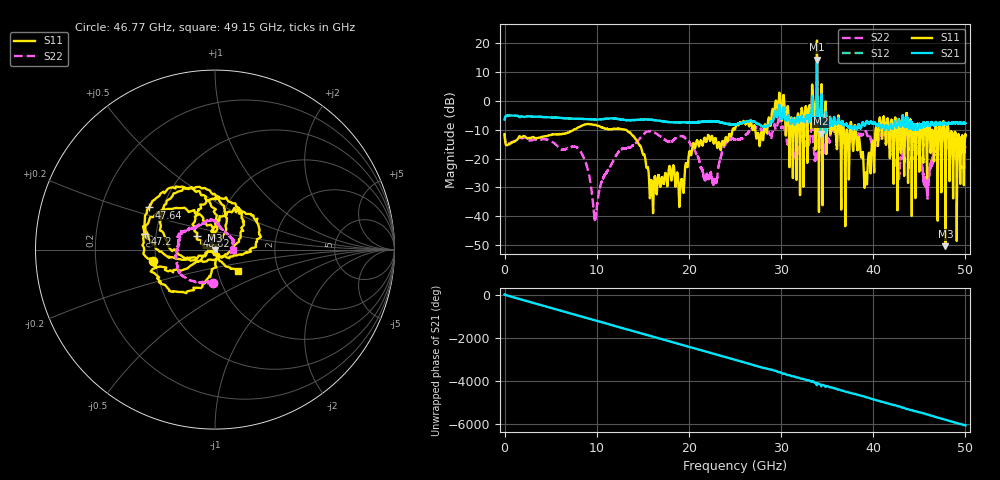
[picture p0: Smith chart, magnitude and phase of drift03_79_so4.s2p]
!Created with skrf (http://scikit-rf.org).
# Hz S RI R 50.0
!freq ReS11 ImS11 ReS21 ImS21 ReS12 ImS12 ReS22 ImS22
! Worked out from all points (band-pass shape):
!   10001 points, 300 kHz to 50 GHz, reference 50 ohm
!   highest |S21| = 14.32 dB at 33.9 GHz (marker M1); lowest = -11.3 dB at 34.32 GHz (marker M2)
!   |S21| within 3 dB of the highest: 33.89098 GHz to 33.90326 GHz (12.27 MHz wide, 0.0362 % of centre)
!   lowest |S11| = -50.4 dB at 47.84 GHz (marker M3), VSWR 1.01, Z = 49.7 - j0.129 ohm
!   |S11| at or under -10 dB: start of sweep to 7.488 GHz; 13.13 GHz to 24.74 GHz (11.62 GHz wide, 61.4 % of centre); 38.09 GHz to 40.25 GHz (2.155 GHz wide, 5.5 % of centre) (the widest 3 of 46)
!   |S22| runs from -41.4 to 6.8 dB; largest |S21 - S12| = 0.38
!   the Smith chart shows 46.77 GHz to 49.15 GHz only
!   S11 on the Smith chart (normalised r, x): 46.77 GHz: 0.48, -0.07; 47.2 GHz: 0.43, +0.09; 47.64 GHz: 0.42, +0.24; 48.62 GHz: 0.81, +0.12; 49.15 GHz: 1.25, -0.31
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300000  -0.2351 -0.1243  0.4659 0.0811  0.4647 0.0807  -0.2325 -0.1265
1.440291e9  0.2099 0.0648  -0.548 -0.0301  -0.5479 -0.0294  0.2115 -0.00385
2.915283e9  -0.212 -0.088  0.5344 0.0519  0.5345 0.0513  -0.2018 0.0403
4.415274e9  0.2055 0.1324  -0.5218 -0.0426  -0.5222 -0.0427  0.1988 -0.0871
8.33525e9  0.2887 -0.2329  0.1453 0.4664  0.1453 0.4666  -0.0725 -0.1018
9.840241e9  -0.365 0.1247  -0.1423 -0.4544  -0.1425 -0.4543  0.00875 0.00212
1.66702e10  0.0272 0.0431  -0.3792 0.2533  -0.3797 0.252  -0.1283 -0.2211
2.500015e10  -0.3262 -0.0166  -0.2544 -0.2986  -0.2525 -0.2999  -0.2125 0.028
2.895513e10  -0.327 0.4319  -0.2903 0.3248  -0.3 0.2877  0.0658 0.2208
3.006512e10  0.4007 0.2704  0.4523 -0.1942  0.4557 -0.1798  0.1777 -0.2967
3.171011e10  -0.0918 0.1875  -0.3634 0.3553  -0.3624 0.3544  0.0656 0.1575
3.33351e10  0.6632 -0.8085  0.2691 -0.853  0.2722 -0.833  -0.1854 -0.4342
3.38951e10  -2.692 -10.9  -5.123 0.8968  -4.817 1.116  0.5608 2.111
3.432009e10  -0.7783 -0.00248  -0.1818 0.2006  -0.2435 0.179  0.1434 -0.0749
4.167005e10  -0.2101 0.2983  0.3166 0.00172  0.3176 0.0083  -0.1887 -0.0063
4.676502e10  -0.3481 -0.0633  -0.0963 0.4169  -0.0966 0.4177  -0.0136 -0.1851
4.720002e10  -0.3915 0.0856  0.2764 0.3203  0.2781 0.315  -0.201 -0.1255
4.763501e10  -0.365 0.2349  0.4187 -0.0278  0.4141 -0.0235  -0.2024 0.0727
4.784001e10  -0.00271 -0.0013  0.3578 -0.169  0.3588 -0.1678  -0.1648 0.1103
4.861501e10  -0.1025 0.0739  -0.2217 -0.3611  -0.2218 -0.3618  0.0621 0.0886
4.915001e10  0.1284 -0.1214  -0.4134 0.0414  -0.4152 0.0383  0.1006 -0.00446
5e10  -0.121 -0.2267  0.139 0.3849  0.1394 0.3828  -0.0524 -0.1481
